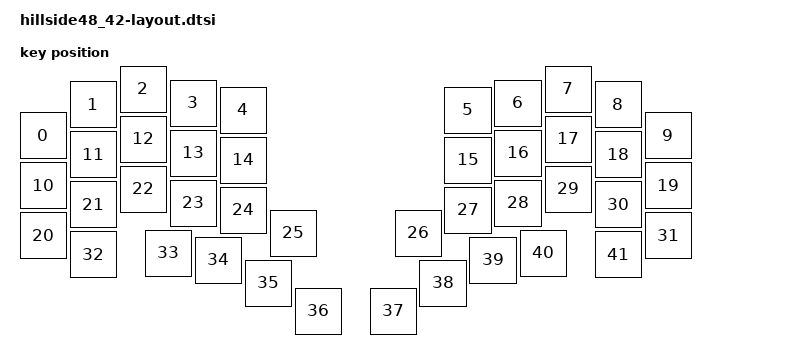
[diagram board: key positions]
#include <physical_layouts.dtsi>

/ {
    physical_layout_hillside48_42: physical_layout_hillside48_42 {
        compatible = "zmk,physical-layout";
        display-name = "Hillside48 (42)";

        keys  //                     w   h    x    y     rot    rx    ry
            = <&key_physical_attrs 100 100    0   93       0     0     0>
            , <&key_physical_attrs 100 100  100   31       0     0     0>
            , <&key_physical_attrs 100 100  200    0       0     0     0>
            , <&key_physical_attrs 100 100  300   28       0     0     0>
            , <&key_physical_attrs 100 100  400   42       0     0     0>
            , <&key_physical_attrs 100 100  850   42       0     0     0>
            , <&key_physical_attrs 100 100  950   28       0     0     0>
            , <&key_physical_attrs 100 100 1050    0       0     0     0>
            , <&key_physical_attrs 100 100 1150   31       0     0     0>
            , <&key_physical_attrs 100 100 1250   93       0     0     0>
            , <&key_physical_attrs 100 100    0  193       0     0     0>
            , <&key_physical_attrs 100 100  100  131       0     0     0>
            , <&key_physical_attrs 100 100  200  100       0     0     0>
            , <&key_physical_attrs 100 100  300  128       0     0     0>
            , <&key_physical_attrs 100 100  400  142       0     0     0>
            , <&key_physical_attrs 100 100  850  142       0     0     0>
            , <&key_physical_attrs 100 100  950  128       0     0     0>
            , <&key_physical_attrs 100 100 1050  100       0     0     0>
            , <&key_physical_attrs 100 100 1150  131       0     0     0>
            , <&key_physical_attrs 100 100 1250  193       0     0     0>
            , <&key_physical_attrs 100 100    0  293       0     0     0>
            , <&key_physical_attrs 100 100  100  231       0     0     0>
            , <&key_physical_attrs 100 100  200  200       0     0     0>
            , <&key_physical_attrs 100 100  300  228       0     0     0>
            , <&key_physical_attrs 100 100  400  242       0     0     0>
            , <&key_physical_attrs 100 100  500  288       0     0     0>
            , <&key_physical_attrs 100 100  750  288       0     0     0>
            , <&key_physical_attrs 100 100  850  242       0     0     0>
            , <&key_physical_attrs 100 100  950  228       0     0     0>
            , <&key_physical_attrs 100 100 1050  200       0     0     0>
            , <&key_physical_attrs 100 100 1150  231       0     0     0>
            , <&key_physical_attrs 100 100 1250  293       0     0     0>
            , <&key_physical_attrs 100 100  100  331       0     0     0>
            , <&key_physical_attrs 100 100  250  328       0     0     0>
            , <&key_physical_attrs 100 100  350  342       0     0     0>
            , <&key_physical_attrs 100 100  450  388       0     0     0>
            , <&key_physical_attrs 100 100  550  444       0     0     0>
            , <&key_physical_attrs 100 100  700  444       0     0     0>
            , <&key_physical_attrs 100 100  800  388       0     0     0>
            , <&key_physical_attrs 100 100  900  342       0     0     0>
            , <&key_physical_attrs 100 100 1000  328       0     0     0>
            , <&key_physical_attrs 100 100 1150  331       0     0     0>
            ;
    };
};
